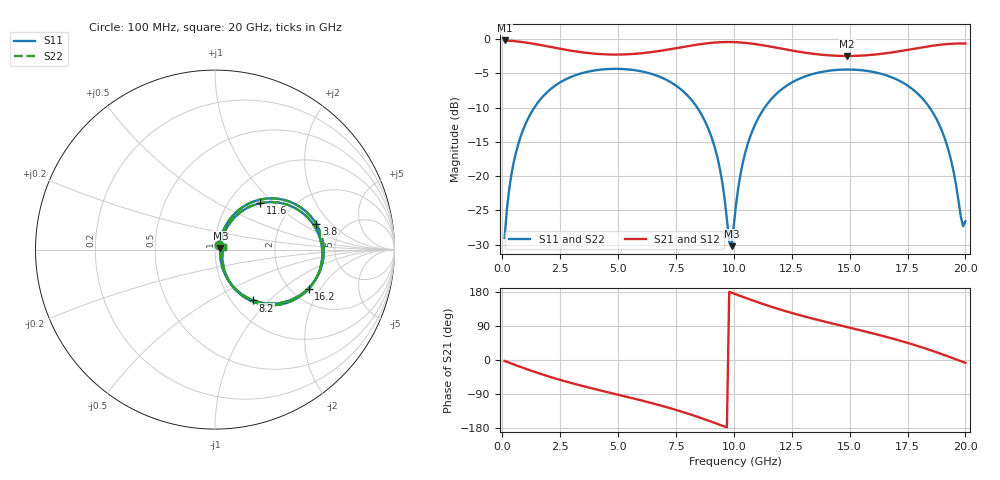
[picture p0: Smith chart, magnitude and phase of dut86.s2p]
! Touchstone file exported from HFSS 2026.1.0
!  File:  C:/ffzhzh/LocalFiles/Ansys_Project_Files/temp_train_TSV_RDL_86_1782972233_45308.aedt
!  Generated:  02:18:48 PM Jul  2, 2026
!  Design:  TSV_RDL
!  Project:  temp_train_TSV_RDL_86_1782972233_45308
! Variables:
!  h_bsmrdl = 4.85um
!  h_ox = 20um
!  h_rdl = 5um
!  h_sub = 81.39um
!  h_tmrdl = 3.8um
!  h_tsv = 81.39um
!  h_via = 3um
!  l_bsmrdl = 970.09um
!  l_sub = 6319.84um
!  l_tmrdl = 719.1um
!  m_sub = 200um
!  pitch = 59.84um
!  r_tsv = 9.26um
!  s_tmrdl = 10um
!  w_bsmrdl = 16.69um
!  w_sub = 500um
!  w_tmrdl = 27.7um
!  x_tsv_center1 = 732.95um
!  x_tsv_center2 = 1719.73um
!  x_tsv_center3 = 2466.53um
!  x_tsv_center4 = 3453.31um
!  x_tsv_center5 = 4200.11um
!  x_tsv_center6 = 5186.89um
# GHz S MA R 50.000000
! Terminal data exported
! Port[1] = TM_RDL1_1_T1
! Port[2] = TM_RDL5_1_T1
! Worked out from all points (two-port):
!   200 points, 100 MHz to 20 GHz, reference 50 ohm
!   highest |S21| = -0.21 dB at 100 MHz (marker M1); lowest = -2.5 dB at 14.9 GHz (marker M2)
!   |S21| within 3 dB of the highest: start of sweep to end of sweep
!   lowest |S11| = -30.2 dB at 9.9 GHz (marker M3), VSWR 1.06, Z = 53.1 + j0.691 ohm
!   |S11| at or under -10 dB: start of sweep to 1.385 GHz; 8.417 GHz to 11.33 GHz (2.915 GHz wide, 29.5 % of centre); 18.45 GHz to end of sweep
!   |S22| runs from -30.1 to -4.4 dB; largest |S21 - S12| = 1.6e-14
!   S11 on the Smith chart (normalised r, x): 100 MHz: 1.05, +0.05; 3.8 GHz: 3.16, +1.35; 8.2 GHz: 1.25, -0.81; 11.6 GHz: 1.39, +0.83; 16.2 GHz: 2.47, -1.58; 20 GHz: 1.09, +0.03
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0.1  0.0354 45.9  0.9761 -2.4  0.9761 -2.4  0.0354 45.9
! Gamma 0 0 0 0
! Port Impedance 50 0 50 0
0.5  0.1276 66.2  0.9656 -11.7  0.9656 -11.7  0.1276 66.2
1.1  0.2602 58.8  0.9381 -25.1  0.9381 -25.1  0.2602 58.8
2.2  0.4464 39.4  0.8675 -47.1  0.8675 -47.1  0.4464 39.5
3.5  0.5672 18.5  0.7975 -69.1  0.7975 -69.1  0.5671 18.6
3.8  0.5825 14.1  0.787 -73.7  0.787 -73.7  0.5824 14.1
5.3  0.6027 -7.3  0.7724 -96.0  0.7724 -96.0  0.6026 -7.3
6.8  0.5303 -29.6  0.8188 -119.4  0.8188 -119.4  0.5303 -29.5
8.2  0.3547 -53.0  0.8979 -145.2  0.8979 -145.2  0.3546 -52.9
9.2  0.1568 -67.7  0.9432 -166.6  0.9432 -166.6  0.1568 -67.5
9.9  0.03084 12.2  0.9506 177.6  0.9506 177.6  0.03117 12.2
10.1  0.06295 53.5  0.9481 173.0  0.9481 173.0  0.06316 53.3
10.7  0.1928 59.7  0.9291 159.6  0.9291 159.6  0.1929 59.7
11.6  0.3616 45.6  0.8793 140.9  0.8793 140.9  0.3617 45.7
13.4  0.5554 16.9  0.7812 109.3  0.7812 109.3  0.5554 17.0
14.9  0.599 -4.3  0.752 86.7  0.752 86.7  0.599 -4.2
16.2  0.5666 -22.6  0.7736 67.2  0.7736 67.2  0.5666 -22.4
16.7  0.5351 -30.0  0.7928 59.1  0.7928 59.1  0.5351 -29.8
18.7  0.2708 -61.7  0.8988 21.6  0.8988 21.6  0.271 -61.3
19.3  0.1481 -66.7  0.9212 8.4  0.9212 8.4  0.1484 -66.1
19.9  0.0431 -12.4  0.9283 -5.2  0.9283 -5.2  0.0445 -11.9
20  0.04693 14.9  0.9277 -7.5  0.9277 -7.5  0.04825 14.5
